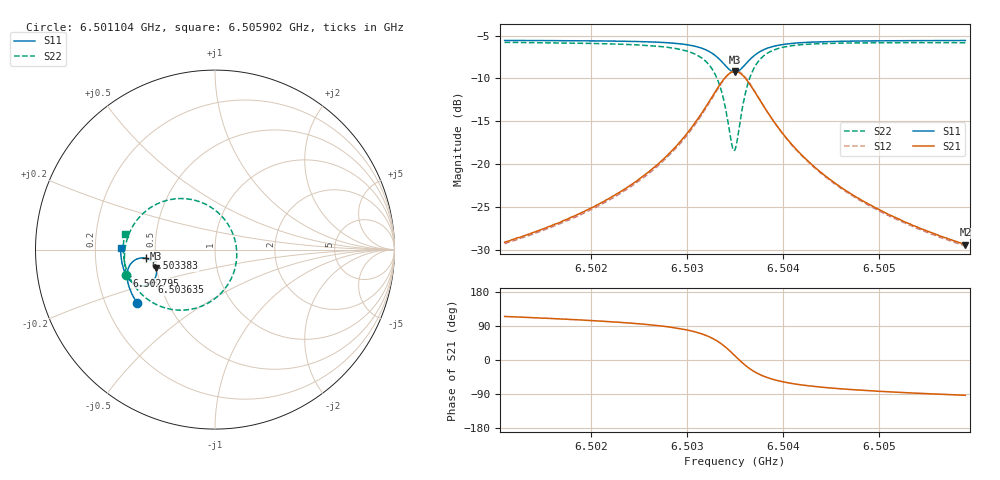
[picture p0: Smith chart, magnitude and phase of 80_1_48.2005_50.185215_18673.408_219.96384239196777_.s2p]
#  HZ  S  RI  R  50.00
! Rohde & Schwarz Vector Network Analyzer
! Rohde-Schwarz,ZNB20-2Port,1311601062101988,3.16
! Created: UTC 3/20/2024, 11:39:38 AM
! freq[Hz]  re:S11  im:S11  re:S21  im:S21  re:S12  im:S12  re:S22  im:S22
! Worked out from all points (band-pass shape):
!   401 points, 6.501104 GHz to 6.505902 GHz, reference 50 ohm
!   highest |S21| = -9.17 dB at 6.503503 GHz (marker M1); lowest = -29.4 dB at 6.505902 GHz (marker M2)
!   |S21| within 3 dB of the highest: 6.503263 GHz to 6.503742 GHz (479.2 kHz wide, 0.00737 % of centre)
!   lowest |S11| = -9.3 dB at 6.503503 GHz (marker M3), VSWR 2.05, Z = 24.8 - j5.73 ohm
!   |S11| at or under -10 dB: nowhere
!   |S22| runs from -18.4 to -5.8 dB; largest |S21 - S12| = 0.012
!   S11 on the Smith chart (normalised r, x): 6.501104 GHz: 0.34, -0.28; 6.502795 GHz: 0.33, -0.13; 6.503383 GHz: 0.44, -0.05; 6.503635 GHz: 0.45, -0.20; 6.505902 GHz: 0.31, +0.01
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6.5011036e9  -0.4331 -0.2992  -0.0147 0.0318  -0.0131 0.0319  -0.494 -0.1391
6.5019073e9  -0.4666 -0.2383  -0.0139 0.0504  -0.0113 0.0499  -0.5044 -0.0507
6.5023632e9  -0.4821 -0.1966  -0.0104 0.0715  -0.00735 0.0702  -0.4991 0.0174
6.5027111e9  -0.4895 -0.1566  -0.000813 0.1014  0.0028 0.099  -0.4776 0.0915
6.5027951e9  -0.49 -0.1449  0.00408 0.1122  0.00785 0.1093  -0.4668 0.1146
6.502999e9  -0.4852 -0.1108  0.0273 0.1476  0.031 0.143  -0.4182 0.1841
6.503143e9  -0.4705 -0.0807  0.066 0.1819  0.0686 0.1759  -0.3431 0.2437
6.5032869e9  -0.4315 -0.0511  0.15 0.2111  0.1506 0.2047  -0.1898 0.2845
6.5033349e9  -0.4095 -0.0462  0.1936 0.2093  0.1937 0.2036  -0.1129 0.275
6.5033829e9  -0.3836 -0.0486  0.2438 0.1934  0.244 0.1886  -0.0272 0.2388
6.5034669e9  -0.3398 -0.079  0.3238 0.1161  0.3262 0.1119  0.1003 0.0862
6.5035029e9  -0.3288 -0.1018  0.3416 0.0658  0.3453 0.0603  0.121 -0.00834
6.5035269e9  -0.3257 -0.1184  0.3446 0.0303  0.3489 0.0234  0.1177 -0.0737
6.5035628e9  -0.3281 -0.1433  0.3368 -0.0211  0.3405 -0.0303  0.0888 -0.165
6.5036348e9  -0.3511 -0.1813  0.2883 -0.0989  0.2882 -0.1108  -0.0257 -0.2907
6.5037308e9  -0.3929 -0.2013  0.2079 -0.1428  0.2028 -0.1533  -0.1896 -0.3375
6.5038867e9  -0.4432 -0.1939  0.1178 -0.1416  0.1104 -0.1472  -0.3534 -0.2916
6.5040547e9  -0.4726 -0.1728  0.0688 -0.1201  0.0622 -0.1227  -0.4329 -0.2227
6.5043066e9  -0.4954 -0.1414  0.0353 -0.0926  0.0303 -0.0932  -0.4812 -0.1434
6.5046785e9  -0.5116 -0.1015  0.0152 -0.0674  0.0117 -0.067  -0.5047 -0.065
6.5051104e9  -0.5207 -0.0609  0.00532 -0.0504  0.00293 -0.0498  -0.5108 -0.00112
6.5059021e9  -0.5261 0.00687  -0.00189 -0.034  -0.00329 -0.0332  -0.5037 0.0856
